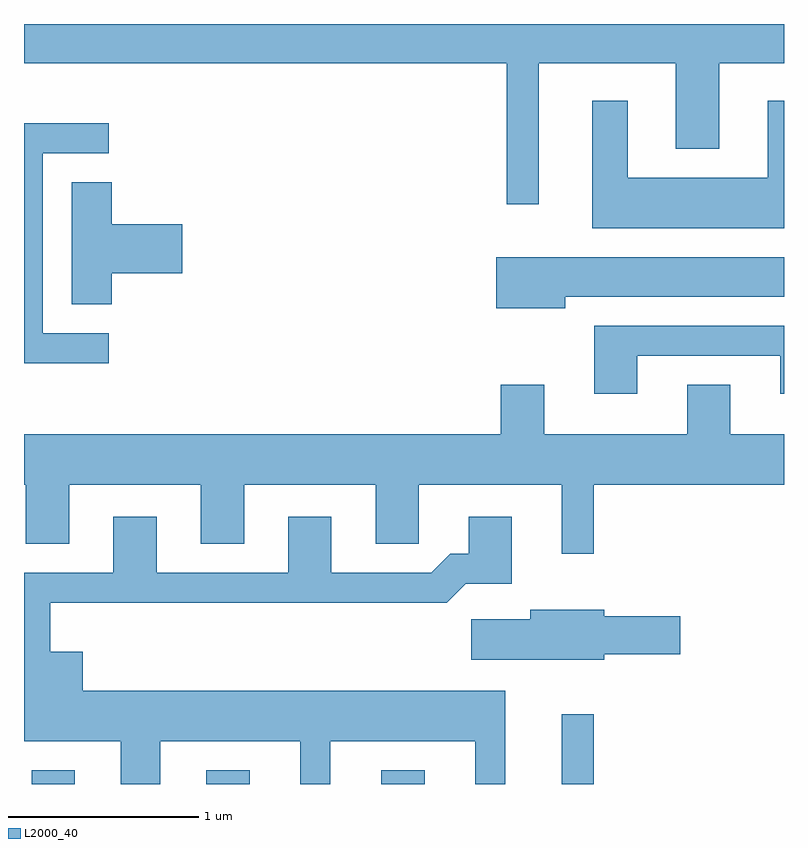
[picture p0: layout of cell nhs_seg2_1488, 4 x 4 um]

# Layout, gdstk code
import gdstk
lib = gdstk.Library(unit=1e-6, precision=1e-09)
def R(c, l, rs):  # rectangles x0, y0, x1, y1
    for r in rs: c.add(gdstk.rectangle(r[:2], r[2:], *l))
def A(c, l, x, y, w, h, nx, ny, dx, dy):  # array of equal rectangles
    R(c, l, [(x+i*dx, y+j*dy, x+i*dx+w, y+j*dy+h) for i in range(nx) for j in range(ny)])
def P(c, l, *ps):  # polygons
    for p in ps: c.add(gdstk.Polygon(p, *l))
L2000_40 = (2000, 40)

nhs_seg2_1488 = lib.new_cell('nhs_seg2_1488')
A(nhs_seg2_1488, L2000_40, 227.651, 1097.802, 0.228, 0.072, 3, 1, 0.92, 0)
R(nhs_seg2_1488, L2000_40, [(230.441,1097.802,230.609,1098.168)])
P(nhs_seg2_1488, L2000_40, [(230.319,1101.596),(231.041,1101.596),(231.041,1101.146),(231.269,1101.146),(231.269,1101.596),(231.611,1101.596),(231.611,1101.802),(227.611,1101.802),(227.611,1101.596),(230.151,1101.596),(230.151,1100.853),(230.319,1100.853)],
  [(231.611,1101.399),(231.526,1101.399),(231.526,1100.994),(230.789,1100.994),(230.789,1101.399),(230.601,1101.399),(230.601,1100.726),(231.611,1100.726)],
  [(228.058,1100.174),(227.709,1100.174),(227.709,1101.121),(228.058,1101.121),(228.058,1101.279),(227.611,1101.279),(227.611,1100.016),(228.058,1100.016)],
  [(228.074,1100.491),(228.444,1100.491),(228.444,1100.749),(228.074,1100.749),(228.074,1100.969),(227.861,1100.969),(227.861,1100.326),(228.074,1100.326)],
  [(230.459,1100.366),(231.611,1100.366),(231.611,1100.574),(230.096,1100.574),(230.096,1100.306),(230.459,1100.306)],
  [(230.839,1100.056),(231.591,1100.056),(231.591,1099.856),(231.611,1099.856),(231.611,1100.214),(230.611,1100.214),(230.611,1099.856),(230.839,1099.856)],
  [(230.609,1099.376),(231.611,1099.376),(231.611,1099.644),(231.329,1099.644),(231.329,1099.904),(231.101,1099.904),(231.101,1099.644),(230.349,1099.644),(230.349,1099.904),(230.121,1099.904),(230.121,1099.644),(227.611,1099.644),(227.611,1099.376),(227.621,1099.376),(227.621,1099.066),(227.849,1099.066),(227.849,1099.376),(228.541,1099.376),(228.541,1099.066),(228.769,1099.066),(228.769,1099.376),(229.461,1099.376),(229.461,1099.066),(229.689,1099.066),(229.689,1099.376),(230.441,1099.376),(230.441,1099.013),(230.609,1099.013)],
  [(228.329,1098.026),(229.066,1098.026),(229.066,1097.802),(229.224,1097.802),(229.224,1098.026),(229.986,1098.026),(229.986,1097.802),(230.144,1097.802),(230.144,1098.294),(227.919,1098.294),(227.919,1098.499),(227.749,1098.499),(227.749,1098.756),(229.837,1098.756),(229.937,1098.856),(230.179,1098.856),(230.179,1099.209),(229.951,1099.209),(229.951,1099.014),(229.854,1099.014),(229.754,1098.914),(229.229,1098.914),(229.229,1099.209),(229.001,1099.209),(229.001,1098.914),(228.309,1098.914),(228.309,1099.209),(228.081,1099.209),(228.081,1098.914),(227.611,1098.914),(227.611,1098.026),(228.121,1098.026),(228.121,1097.802),(228.329,1097.802)],
  [(230.664,1098.486),(231.064,1098.486),(231.064,1098.684),(230.664,1098.684),(230.664,1098.719),(230.276,1098.719),(230.276,1098.669),(229.966,1098.669),(229.966,1098.456),(230.664,1098.456)])

lib.write_gds('nhs_seg2_1488.gds')
